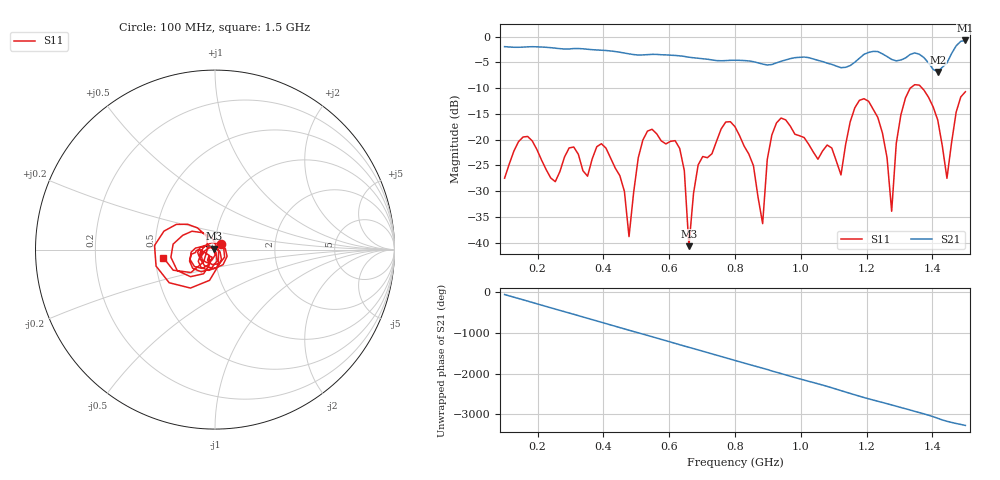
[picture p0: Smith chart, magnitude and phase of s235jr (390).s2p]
! NanoVNA-App
! Date: 2025-09-25 15:07:12
! Start: 100MHz Stop: 1,5GHz Points: 101
! S-Parameter data: F S11 S21 S12 S22
# Hz S RI R 50
!  Frequency  S11_Real  S11_Imag  S21_Real  S21_Imag  S12_Real  S12_Imag  S22_Real  S22_Imag
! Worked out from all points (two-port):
!   101 points, 100 MHz to 1.5 GHz, reference 50 ohm
!   highest |S21| = -0.77 dB at 1.5 GHz (marker M1); lowest = -6.9 dB at 1.416 GHz (marker M2)
!   |S21| within 3 dB of the highest: start of sweep to 634.6 MHz; 1.186 GHz to 1.259 GHz (72.6 MHz wide, 5.94 % of centre) (the widest 2 of 4)
!   lowest |S11| = -40.7 dB at 660 MHz (marker M3), VSWR 1.02, Z = 49.2 + j0.532 ohm
!   |S11| at or under -10 dB: start of sweep to 1.333 GHz; 1.368 GHz to end of sweep
!   S12 and S22 are empty: the file has one direction only
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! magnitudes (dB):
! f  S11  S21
! 100 MHz  -27.5  -2.0
! 170 MHz  -19.4  -2.0
! 338 MHz  -26.0  -2.4
! 408 MHz  -21.6  -2.7
! 478 MHz  -38.8  -3.4
! 520 MHz  -20.1  -3.6
! 576 MHz  -20.2  -3.5
! 632 MHz  -21.7  -3.7
! 660 MHz  -40.7  -4.0
! 688 MHz  -24.9  -4.2
! 800 MHz  -17.5  -4.6
! 884 MHz  -36.3  -5.3
! 926 MHz  -16.8  -5.1
! 1.038 GHz  -22.4  -4.4
! 1.122 GHz  -26.8  -6.0
! 1.206 GHz  -12.6  -3.1
! 1.276 GHz  -33.9  -4.4
! 1.29 GHz  -20.7  -4.7
! 1.332 GHz  -10.0  -3.5
! 1.416 GHz  -16.2  -6.9
! 1.444 GHz  -27.5  -5.1
! 1.5 GHz  -10.7  -0.8
